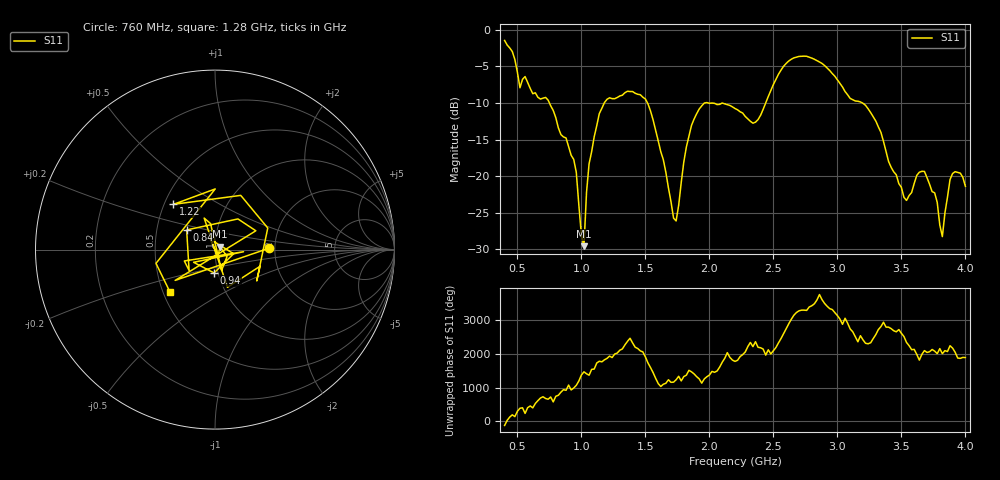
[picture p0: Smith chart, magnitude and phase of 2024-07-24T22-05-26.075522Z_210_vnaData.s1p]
!Created with skrf (http://scikit-rf.org).
# Hz S RI R 50.0
!freq ReS11 ImS11
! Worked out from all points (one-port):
!   181 points, 400 MHz to 4 GHz, reference 50 ohm
!   lowest |S11| = -29.5 dB at 1.02 GHz (marker M1), VSWR 1.07, Z = 53 + j1.64 ohm
!   |S11| at or under -10 dB: 1.516 GHz to 1.967 GHz (451.2 MHz wide, 25.9 % of centre); 1.988 GHz to 2.44 GHz (451.9 MHz wide, 20.4 % of centre); 3.194 GHz to end of sweep (the widest 3 of 4)
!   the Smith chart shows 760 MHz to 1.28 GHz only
!   S11 on the Smith chart (normalised r, x): 760 MHz: 1.86, +0.03; 840 MHz: 0.71, +0.16; 940 MHz: 0.96, -0.25; 1.22 GHz: 0.56, +0.32; 1.28 GHz: 0.54, -0.29
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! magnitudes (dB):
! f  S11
! 400 MHz  -1.5
! 520 MHz  -7.9
! 760 MHz  -10.4
! 840 MHz  -14.3
! 860 MHz  -14.6
! 940 MHz  -17.7
! 1.02 GHz  -29.5
! 1.06 GHz  -18.3
! 1.14 GHz  -11.5
! 1.22 GHz  -9.3
! 1.28 GHz  -9.3
! 1.3 GHz  -9.1
! 1.5 GHz  -9.5
! 1.72 GHz  -25.7
! 1.76 GHz  -24.0
! 1.82 GHz  -16.0
! 1.92 GHz  -10.8
! 2.2 GHz  -10.8
! 2.36 GHz  -12.6
! 2.66 GHz  -3.9
! 3.1 GHz  -9.4
! 3.3 GHz  -12.5
! 3.56 GHz  -22.6
! 3.68 GHz  -19.4
! 3.76 GHz  -22.3
! 3.82 GHz  -28.2
! 3.9 GHz  -19.6
! 4 GHz  -21.4
